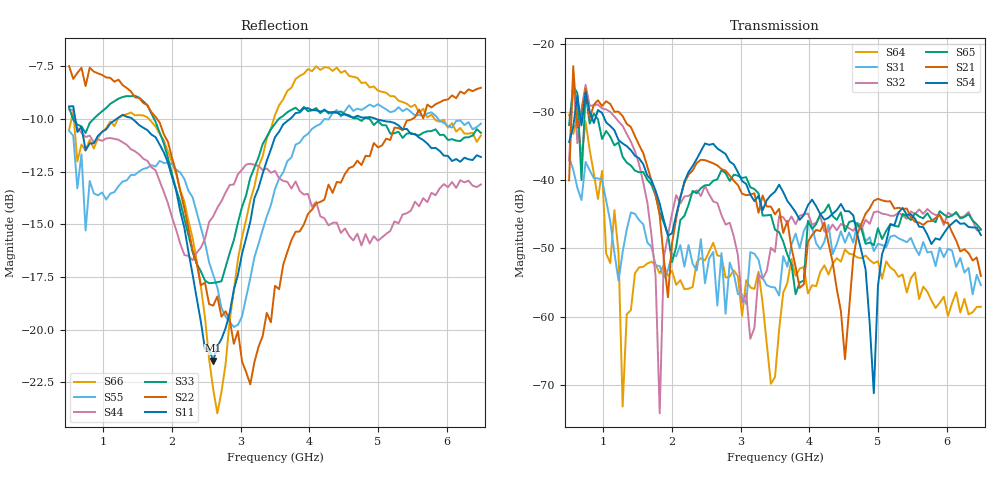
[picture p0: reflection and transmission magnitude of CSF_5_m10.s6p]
!Keysight Technologies,M9804A,MY58100912,A.14.10.03
!Date: Thursday, April 27, 2023 10:28:33
!Correction: S11(C  6-Port  )
!S12(C  6-Port  )
!S13(C  6-Port  )
!S14(C  6-Port  )
!S15(C  6-Port  )
!S16(C  6-Port  )
!S21(C  6-Port  )
!S22(C  6-Port  )
!S23(C  6-Port  )
!S24(C  6-Port  )
!S25(C  6-Port  )
!S26(C  6-Port  )
!S31(C  6-Port  )
!S32(C  6-Port  )
!S33(C  6-Port  )
!S34(C  6-Port  )
!S35(C  6-Port  )
!S36(C  6-Port  )
!S41(C  6-Port  )
!S42(C  6-Port  )
!S43(C  6-Port  )
!S44(C  6-Port  )
!S45(C  6-Port  )
!S46(C  6-Port  )
!S51(C  6-Port  )
!S52(C  6-Port  )
!S53(C  6-Port  )
!S54(C  6-Port  )
!S55(C  6-Port  )
!S56(C  6-Port  )
!S61(C  6-Port  )
!S62(C  6-Port  )
!S63(C  6-Port  )
!S64(C  6-Port  )
!S65(C  6-Port  )
!S66(C  6-Port  )
!S6P File: Measurement: :
# Hz S  RI  R 50
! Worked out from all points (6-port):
!   101 points, 500 MHz to 6.5 GHz, reference 50 ohm
!   strongest paths, dB at 500 MHz, 2 GHz, 3.5 GHz, 5 GHz, 6.5 GHz:
!     S54: -34.4, -47.8, -41.7, -55.6, -48.1
!     S21: -40.0, -49.2, -45.0, -42.7, -54.0
!     S65: -31.9, -52.0, -47.3, -47.1, -47.2
!     S32: -37.1, -44.9, -50.5, -44.6, -47.3
!     S31: -36.7, -50.9, -55.7, -49.3, -55.4
!     S64: -30.4, -53.3, -68.9, -51.9, -58.6
!   lowest |S11| = -21.5 dB at 2.6 GHz (marker M1), VSWR 1.18, Z = 42.5 + j2.2 ohm
!   |S11| at or under -10 dB: 589.8 MHz to 1.191 GHz (600.7 MHz wide, 67.5 % of centre); 1.423 GHz to 3.717 GHz (2.295 GHz wide, 89.3 % of centre); 4.973 GHz to end of sweep
